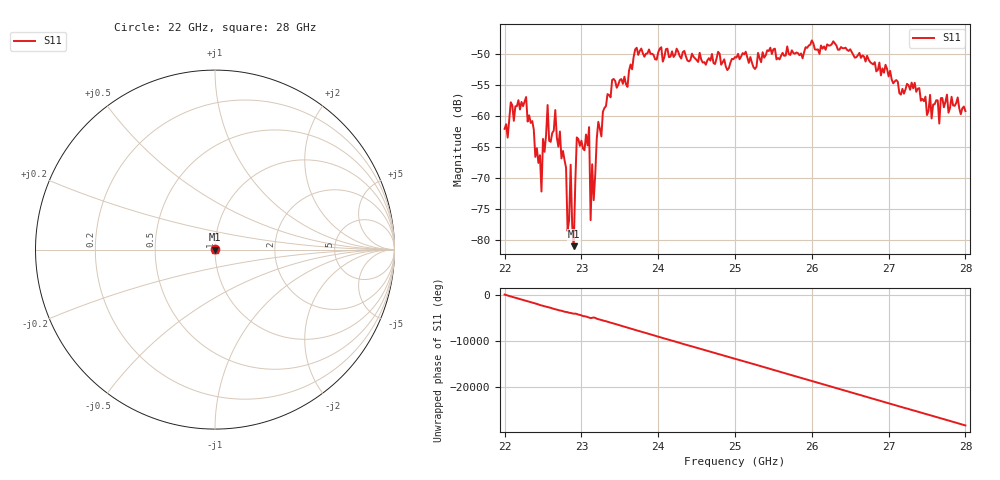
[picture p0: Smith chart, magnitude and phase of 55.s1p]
#  HZ  S  RI  R  50.00
! Rohde & Schwarz ZVA40 4Ports - Version 3.90 - 1145.1110k42 SN: 100403
! Date: 2023-10-04 07:40:26
! Measurement: S12
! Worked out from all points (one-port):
!   301 points, 22 GHz to 28 GHz, reference 50 ohm
!   lowest |S11| = -81.0 dB at 22.9 GHz (marker M1), VSWR 1.00, Z = 50 - j0.00892 ohm
!   |S11| at or under -10 dB: start of sweep to end of sweep
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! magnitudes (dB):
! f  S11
! 22 GHz  -62.1
! 22.28 GHz  -56.9
! 22.46 GHz  -66.3
! 22.48 GHz  -72.2
! 22.5 GHz  -63.7
! 22.56 GHz  -58.2
! 22.58 GHz  -64.0
! 22.66 GHz  -59.0
! 22.76 GHz  -65.6
! 22.8 GHz  -68.3
! 22.82 GHz  -78.5
! 22.86 GHz  -67.8
! 22.9 GHz  -81.0
! 22.94 GHz  -63.4
! 23.1 GHz  -61.8
! 23.12 GHz  -76.8
! 23.14 GHz  -67.8
! 23.16 GHz  -73.6
! 23.22 GHz  -60.9
! 23.5 GHz  -54.2
! 24.26 GHz  -49.6
! 25 GHz  -50.5
! 25.76 GHz  -49.8
! 26.5 GHz  -49.2
! 27.26 GHz  -55.0
! 27.66 GHz  -61.2
! 27.76 GHz  -56.5
! 28 GHz  -59.2
